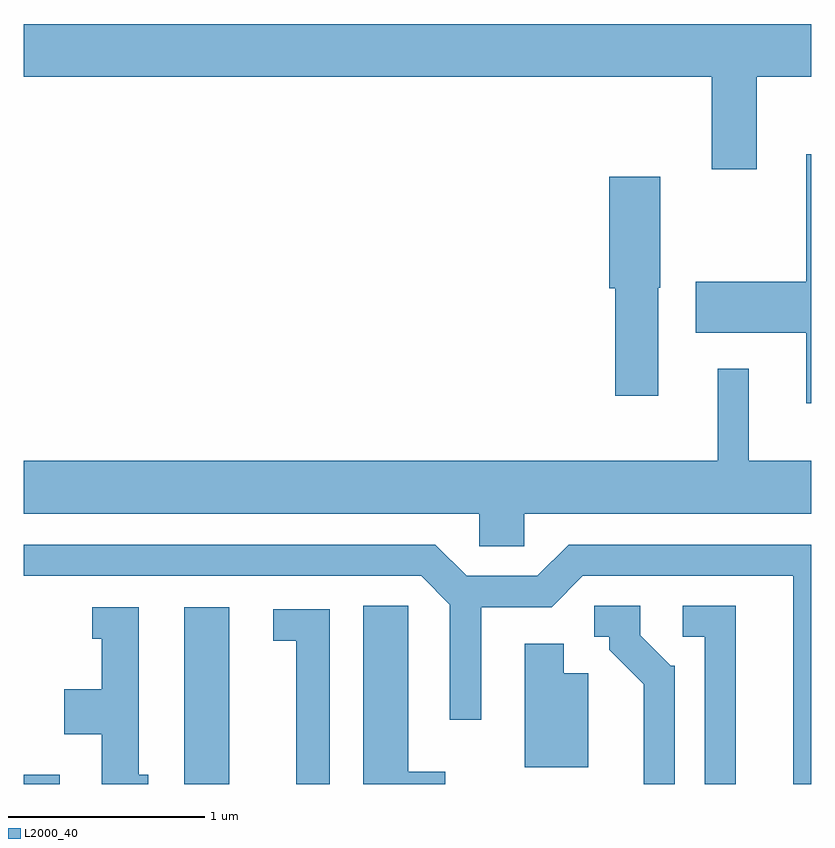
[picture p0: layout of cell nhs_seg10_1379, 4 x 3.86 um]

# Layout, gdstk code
import gdstk
lib = gdstk.Library(unit=1e-6, precision=1e-09)
def R(c, l, rs):  # rectangles x0, y0, x1, y1
    for r in rs: c.add(gdstk.rectangle(r[:2], r[2:], *l))
def P(c, l, *ps):  # polygons
    for p in ps: c.add(gdstk.Polygon(p, *l))
L2000_40 = (2000, 40)

nhs_seg10_1379 = lib.new_cell('nhs_seg10_1379')
R(nhs_seg10_1379, L2000_40, [(225.611,2132.522,225.793,2132.569), (226.426,2132.522,226.654,2133.419)])
P(nhs_seg10_1379, L2000_40, [(229.334,2136.116),(229.611,2136.116),(229.611,2136.384),(225.611,2136.384),(225.611,2136.116),(229.106,2136.116),(229.106,2135.646),(229.334,2135.646)],
  [(229.611,2135.723),(229.586,2135.723),(229.586,2135.074),(229.026,2135.074),(229.026,2134.816),(229.586,2134.816),(229.586,2134.456),(229.611,2134.456)],
  [(228.834,2135.045),(228.844,2135.045),(228.844,2135.609),(228.586,2135.609),(228.586,2135.041),(228.616,2135.041),(228.616,2134.496),(228.834,2134.496)],
  [(228.154,2133.896),(229.611,2133.896),(229.611,2134.164),(229.294,2134.164),(229.294,2134.633),(229.136,2134.633),(229.136,2134.164),(225.611,2134.164),(225.611,2133.896),(227.926,2133.896),(227.926,2133.731),(228.154,2133.731)],
  [(229.611,2133.739),(228.379,2133.739),(228.219,2133.579),(227.862,2133.579),(227.702,2133.739),(225.611,2133.739),(225.611,2133.581),(227.629,2133.581),(227.776,2133.434),(227.776,2132.848),(227.934,2132.848),(227.934,2133.421),(228.292,2133.421),(228.452,2133.581),(229.521,2133.581),(229.521,2132.522),(229.611,2132.522)],
  [(228.919,2133.124),(228.897,2133.124),(228.744,2133.277),(228.744,2133.429),(228.508,2133.429),(228.508,2133.271),(228.586,2133.271),(228.586,2133.204),(228.761,2133.029),(228.761,2132.522),(228.919,2132.522)],
  [(229.229,2133.429),(228.958,2133.429),(228.958,2133.271),(229.071,2133.271),(229.071,2132.522),(229.229,2132.522)],
  [(227.753,2132.584),(227.564,2132.584),(227.564,2133.429),(227.336,2133.429),(227.336,2132.522),(227.753,2132.522)],
  [(226.243,2132.569),(226.194,2132.569),(226.194,2133.419),(225.958,2133.419),(225.958,2133.261),(226.006,2133.261),(226.006,2133.004),(225.816,2133.004),(225.816,2132.776),(226.006,2132.776),(226.006,2132.522),(226.243,2132.522)],
  [(227.164,2133.409),(226.878,2133.409),(226.878,2133.251),(226.996,2133.251),(226.996,2132.522),(227.164,2132.522)],
  [(228.479,2133.084),(228.354,2133.084),(228.354,2133.234),(228.156,2133.234),(228.156,2132.606),(228.479,2132.606)])

lib.write_gds('nhs_seg10_1379.gds')
